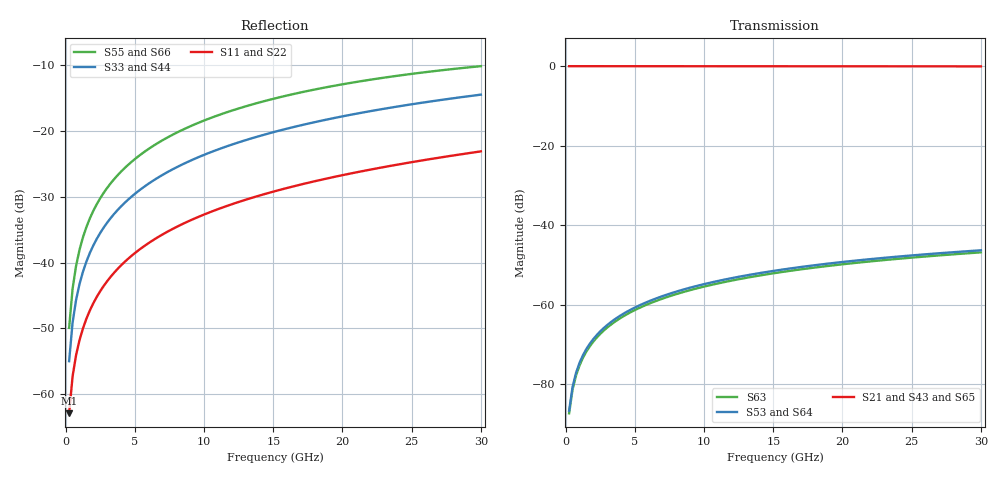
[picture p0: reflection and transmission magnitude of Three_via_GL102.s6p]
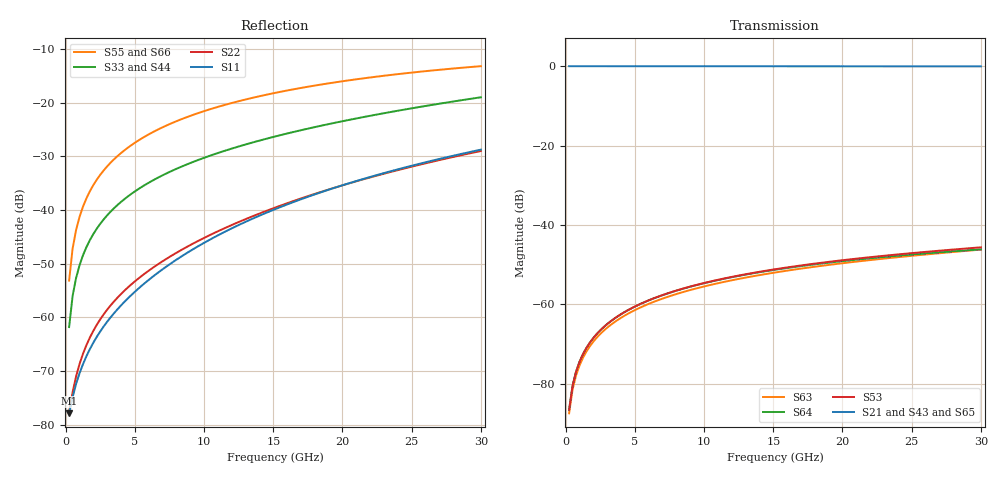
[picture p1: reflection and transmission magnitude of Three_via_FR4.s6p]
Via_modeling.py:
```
import matplotlib.pyplot as plt
import skrf as rf
from skrf import Network

plt.rcParams["font.family"] = "Century Gothic"
plt.rcParams["font.size"] = "14"

SP_GL102 = Network('SP/Three_via_GL102.s6p')
SP_FR4   = Network('SP/Three_via_FR4.s6p')

plt.figure()
plt.title("GL102")
SP_GL102.plot_s_db(m=6-1, n=5-1, label='S65', linewidth ='3')
SP_GL102.plot_s_db(m=4-1, n=3-1, label='S43', linewidth ='3')
SP_GL102.plot_s_db(m=2-1, n=1-1, label='S21', linewidth ='3')
plt.xlabel('F, Гц')
plt.ylabel('S , дБ')
plt.grid()
plt.figure()
plt.title("GL102")
SP_GL102.plot_s_smith(5-1,5-1, label='S55', linewidth ='3',draw_labels=True)
SP_GL102.plot_s_smith(3-1,3-1, label='S33', linewidth ='3',draw_labels=True)
SP_GL102.plot_s_smith(1-1,1-1, label='S11', linewidth ='3',draw_labels=True)

plt.figure()
plt.title("FR4")
SP_FR4.plot_s_db(m=6-1, n=5-1, label='S65', linewidth ='3')
SP_FR4.plot_s_db(m=4-1, n=3-1, label='S43', linewidth ='3')
SP_FR4.plot_s_db(m=2-1, n=1-1, label='S21', linewidth ='3')
plt.xlabel('F, Гц')
plt.ylabel('S , дБ')
plt.grid()
plt.figure()
plt.title("FR4")
SP_FR4.plot_s_smith(5-1,5-1, label='S55', linewidth ='3',draw_labels=True)
SP_FR4.plot_s_smith(3-1,3-1, label='S33', linewidth ='3',draw_labels=True)
SP_FR4.plot_s_smith(1-1,1-1, label='S11', linewidth ='3',draw_labels=True)








plt.show()
```
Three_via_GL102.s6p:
! Created Fri Apr  9 13:31:56 2021
! List of port names and net name(s): example Port n = <port_name> <net_name1> <net_name2> ...
! Port 1 = P1 P1 P3
! Port 2 = P2 P2 P4
! Port 3 = P5 N__5 P7
! Port 4 = P6 N__6 P8
! Port 5 = P9 P11 N__9
! Port 6 = P10 N__10 P12
# hz S ri R 50
! 6 Port Network Data from data block
! freq  reS11  imS11  reS12  imS12  reS13  imS13  reS14  imS14
!  reS15  imS15  reS16  imS16
!  reS21  imS21  reS22  imS22
!  reS23  imS23  reS24  imS24  reS25  imS25  reS26  imS26
!  reS31  imS31  reS32  imS32  reS33  imS33  reS34  imS34
!  reS35  imS35  reS36  imS36
!  reS41  imS41  reS42  imS42
!  reS43  imS43  reS44  imS44  reS45  imS45  reS46  imS46
!  reS51  imS51  reS52  imS52  reS53  imS53  reS54  imS54
!  reS55  imS55  reS56  imS56
!  reS61  imS61  reS62  imS62
!  reS63  imS63  reS64  imS64  reS65  imS65  reS66  imS66
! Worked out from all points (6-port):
!   120 points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, 250 MHz to 30 GHz, reference 50 ohm
!   strongest paths, dB at 250 MHz, 7.75 GHz, 15.25 GHz, 22.75 GHz, 30 GHz:
!     S21: 0.0, 0.0, 0.0, 0.0, -0.1
!     S43: 0.0, 0.0, -0.1, -0.1, -0.2
!     S65: 0.0, -0.1, -0.2, -0.3, -0.5
!     S53: -86.7, -57.0, -51.4, -48.3, -46.3
!     S64: -86.7, -57.0, -51.5, -48.5, -46.7
!     S63: -87.3, -57.6, -52.0, -48.9, -46.8
!   lowest |S11| = -62.9 dB at 250 MHz (marker M1), VSWR 1.00, Z = 50 + j0.0699 ohm
!   |S11| at or under -10 dB: start of sweep to end of sweep
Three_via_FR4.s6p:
! Created Fri Apr  9 13:51:47 2021
! List of port names and net name(s): example Port n = <port_name> <net_name1> <net_name2> ...
! Port 1 = P1 P1 P3
! Port 2 = P2 P2 P4
! Port 3 = P5 N__5 P7
! Port 4 = P6 N__6 P8
! Port 5 = P9 P11 N__9
! Port 6 = P10 N__10 P12
# hz S ri R 50
! 6 Port Network Data from data block
! freq  reS11  imS11  reS12  imS12  reS13  imS13  reS14  imS14
!  reS15  imS15  reS16  imS16
!  reS21  imS21  reS22  imS22
!  reS23  imS23  reS24  imS24  reS25  imS25  reS26  imS26
!  reS31  imS31  reS32  imS32  reS33  imS33  reS34  imS34
!  reS35  imS35  reS36  imS36
!  reS41  imS41  reS42  imS42
!  reS43  imS43  reS44  imS44  reS45  imS45  reS46  imS46
!  reS51  imS51  reS52  imS52  reS53  imS53  reS54  imS54
!  reS55  imS55  reS56  imS56
!  reS61  imS61  reS62  imS62
!  reS63  imS63  reS64  imS64  reS65  imS65  reS66  imS66
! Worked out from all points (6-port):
!   120 points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, 250 MHz to 30 GHz, reference 50 ohm
!   strongest paths, dB at 250 MHz, 7.75 GHz, 15.25 GHz, 22.75 GHz, 30 GHz:
!     S21: 0.0, 0.0, 0.0, 0.0, -0.1
!     S43: 0.0, 0.0, 0.0, -0.1, -0.1
!     S65: 0.0, 0.0, -0.1, -0.2, -0.3
!     S53: -86.5, -56.8, -51.1, -47.9, -45.6
!     S64: -86.5, -56.8, -51.2, -48.2, -46.1
!     S63: -87.5, -57.7, -51.9, -48.6, -46.2
!   lowest |S11| = -77.9 dB at 250 MHz (marker M1), VSWR 1.00, Z = 50 - j0.000541 ohm
!   |S11| at or under -10 dB: start of sweep to end of sweep
